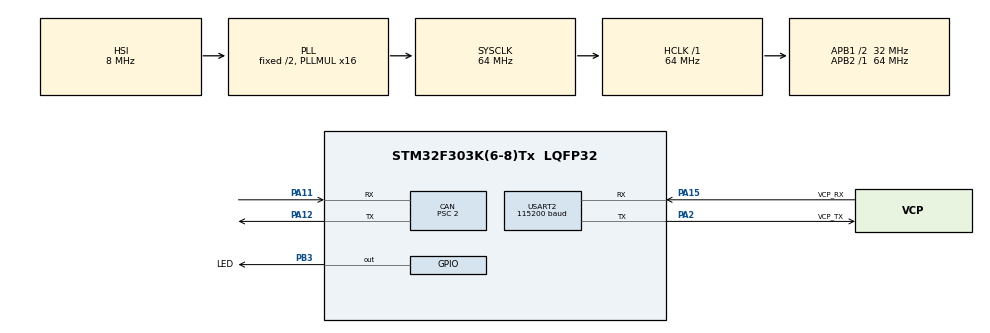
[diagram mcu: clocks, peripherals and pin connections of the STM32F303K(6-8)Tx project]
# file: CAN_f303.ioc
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CAN.BS1=CAN_BS1_13TQ
CAN.BS2=CAN_BS2_2TQ
CAN.CalculateBaudRate=1000000
CAN.CalculateTimeBit=1000
CAN.CalculateTimeQuantum=62.5
CAN.Mode=CAN_MODE_SILENT_LOOPBACK
CAN.Prescaler=2
Mcu.Family=STM32F3
Mcu.Name=STM32F303K(6-8)Tx
Mcu.Package=LQFP32
NVIC.CAN_RX0_IRQn=true\:0\:0\:true\:false\:true\:true\:true\:true
NVIC.PriorityGroup=NVIC_PRIORITYGROUP_4
PA11.Mode=CAN_Activate
PA11.Signal=CAN_RX
PA12.Mode=CAN_Activate
PA12.Signal=CAN_TX
PA13.GPIO_Label=SWDIO
PA13.Mode=Serial_Wire
PA13.Signal=SYS_JTMS-SWDIO
PA14.GPIO_Label=SWCLK
PA14.Mode=Serial_Wire
PA14.Signal=SYS_JTCK-SWCLK
PA15.GPIO_Label=VCP_RX
PA15.Mode=Asynchronous
PA15.Signal=USART2_RX
PA2.GPIO_Label=VCP_TX
PA2.Mode=Asynchronous
PA2.Signal=USART2_TX
PB3.GPIO_Label=LED
PB3.Signal=GPIO_Output
PF0\ /\ OSC_IN.GPIO_Label=MCO
PF0\ /\ OSC_IN.Signal=RCC_OSC_IN
ProjectManager.HeapSize=0x200
ProjectManager.StackSize=0x400
ProjectManager.TargetToolchain=STM32CubeIDE
RCC.AHBFreq_Value=64000000
RCC.APB1CLKDivider=RCC_HCLK_DIV2
RCC.APB1Freq_Value=32000000
RCC.APB1TimFreq_Value=64000000
RCC.APB2Freq_Value=64000000
RCC.APB2TimFreq_Value=64000000
RCC.CortexFreq_Value=64000000
RCC.HCLKFreq_Value=64000000
RCC.HSE_VALUE=8000000
RCC.HSI_VALUE=8000000
RCC.PLLMUL=RCC_PLL_MUL16
RCC.SYSCLKFreq_VALUE=64000000
RCC.SYSCLKSourceVirtual=RCC_SYSCLKSOURCE_PLLCLK
USART2.BaudRate=115200
USART2.VirtualMode-Asynchronous=VM_ASYNC
board=NUCLEO-F303K8

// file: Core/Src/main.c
/* USER CODE BEGIN Header */
/**
  ******************************************************************************
  * @file           : main.c
  * @brief          : Main program body
  ******************************************************************************
  * @attention
  *
  * Copyright (c) 2024 STMicroelectronics.
  * All rights reserved.
  *
  * This software is licensed under terms that can be found in the LICENSE file
  * in the root directory of this software component.
  * If no LICENSE file comes with this software, it is provided AS-IS.
  *
  ******************************************************************************
  */
/* USER CODE END Header */
#include "main.h"

/* USER CODE BEGIN Includes */
#include <stdio.h>
#include "Connectivity/can.h"
/* USER CODE END Includes */

CAN_HandleTypeDef hcan;

UART_HandleTypeDef huart2;

void SystemClock_Config(void);
static void MX_GPIO_Init(void);
static void MX_USART2_UART_Init(void);
static void MX_CAN_Init(void);

/* USER CODE BEGIN 0 */

#ifdef __GNUC__
#define PUTCHAR_PROTOTYPE int __io_putchar(int ch)
#else
#define PUTCHAR_PROTOTYPE int fputc(int ch, FILE *f)
#endif /* __GNUC__ */
void __io_putchar(uint8_t ch) {
  HAL_UART_Transmit(&huart2, &ch, 1, 1);
}

// 構造体、受信データを入れる配列
// CAN_TxHeaderTypeDef TxHeader;
// CAN_RxHeaderTypeDef RxHeader;
// uint8_t TxData[8];
// uint8_t RxData[8];
// uint32_t TxMailbox;

// 受信コールバック
void can_callback(uint32_t id, uint8_t* data, uint8_t dlc) {
  // can_transmitData(0x100, _can_rx_buf_id1.data8, 8);
  HAL_GPIO_TogglePin(LED_GPIO_Port, LED_Pin);
}

// 送信関数
// void CAN_SEND(uint32_t id, uint8_t dlc, uint8_t *senddata) {
//   TxHeader.ExtId = id;
//   TxHeader.RTR = CAN_RTR_DATA;
//   TxHeader.IDE = CAN_ID_EXT;
//   TxHeader.DLC = dlc;
//   TxHeader.TransmitGlobalTime = DISABLE;
//
//   if (HAL_CAN_AddTxMessage(&hcan, &TxHeader, TxData, &TxMailbox) != HAL_OK) {
//     Error_Handler();
//   }
//   while (HAL_CAN_GetTxMailboxesFreeLevel(&hcan) != 3) {}
//   HAL_GPIO_TogglePin(LED_GPIO_Port, LED_Pin);
// }

/* USER CODE END 0 */

int main(void)
{

  /* MCU Configuration--------------------------------------------------------*/

  /* Reset of all peripherals, Initializes the Flash interface and the Systick. */
  HAL_Init();

  /* Configure the system clock */
  SystemClock_Config();

  /* Initialize all configured peripherals */
  MX_GPIO_Init();
  MX_USART2_UART_Init();
  MX_CAN_Init();
  /* USER CODE BEGIN 2 */
  can_init(&hcan);
  // コールバック関数に動きを追加
  can_setReceiveCallback(can_callback);

  // 全IDを通るようにする
  // can_configFilter_free();

  // 1つずつフィルターとマスクを設定
  // can_configFilter_mask(0, 0, 0xFF);
  // can_configFilter_mask(1, 10, 0xFF);

  // 上のをまとめて、2つを一気に設定できるようにした
  can_configFilter(0, 10);

  can_start();

  int a = 0;

  /* USER CODE END 2 */

  /* Infinite loop */
  while (1)
  {

    /* USER CODE BEGIN 3 */
    uint8_t data[8];
    for (int i = 0; i < 8; i++) {
      data[i] = a + i;
      if (data[i] > 0xFF) data[i] -= 0xFF;
    }
    int en;
    can_transmitData(10, data, 8);
    // en = 0;
    // if (!en) HAL_GPIO_TogglePin(LED_GPIO_Port, LED_Pin);
    HAL_Delay(1000);
    a++;
    if (a > 0xFF) a = 0;
  }
  /* USER CODE END 3 */
}

void SystemClock_Config(void)
{
  RCC_OscInitTypeDef RCC_OscInitStruct = {0};
  RCC_ClkInitTypeDef RCC_ClkInitStruct = {0};

  /** Initializes the RCC Oscillators according to the specified parameters
  * in the RCC_OscInitTypeDef structure.
  */
  RCC_OscInitStruct.OscillatorType = RCC_OSCILLATORTYPE_HSI;
  RCC_OscInitStruct.HSIState = RCC_HSI_ON;
  RCC_OscInitStruct.HSICalibrationValue = RCC_HSICALIBRATION_DEFAULT;
  RCC_OscInitStruct.PLL.PLLState = RCC_PLL_ON;
  RCC_OscInitStruct.PLL.PLLSource = RCC_PLLSOURCE_HSI;
  RCC_OscInitStruct.PLL.PLLMUL = RCC_PLL_MUL16;
  if (HAL_RCC_OscConfig(&RCC_OscInitStruct) != HAL_OK)
  {
    Error_Handler();
  }

  /** Initializes the CPU, AHB and APB buses clocks
  */
  RCC_ClkInitStruct.ClockType = RCC_CLOCKTYPE_HCLK|RCC_CLOCKTYPE_SYSCLK
                              |RCC_CLOCKTYPE_PCLK1|RCC_CLOCKTYPE_PCLK2;
  RCC_ClkInitStruct.SYSCLKSource = RCC_SYSCLKSOURCE_PLLCLK;
  RCC_ClkInitStruct.AHBCLKDivider = RCC_SYSCLK_DIV1;
  RCC_ClkInitStruct.APB1CLKDivider = RCC_HCLK_DIV2;
  RCC_ClkInitStruct.APB2CLKDivider = RCC_HCLK_DIV1;

  if (HAL_RCC_ClockConfig(&RCC_ClkInitStruct, FLASH_LATENCY_2) != HAL_OK)
  {
    Error_Handler();
  }
}

static void MX_CAN_Init(void)
{

  hcan.Instance = CAN;
  hcan.Init.Prescaler = 2;
  hcan.Init.Mode = CAN_MODE_SILENT_LOOPBACK;
  hcan.Init.SyncJumpWidth = CAN_SJW_1TQ;
  hcan.Init.TimeSeg1 = CAN_BS1_13TQ;
  hcan.Init.TimeSeg2 = CAN_BS2_2TQ;
  hcan.Init.TimeTriggeredMode = DISABLE;
  hcan.Init.AutoBusOff = DISABLE;
  hcan.Init.AutoWakeUp = DISABLE;
  hcan.Init.AutoRetransmission = DISABLE;
  hcan.Init.ReceiveFifoLocked = DISABLE;
  hcan.Init.TransmitFifoPriority = DISABLE;
  if (HAL_CAN_Init(&hcan) != HAL_OK)
  {
    Error_Handler();
  }

}

static void MX_USART2_UART_Init(void)
{

  huart2.Instance = USART2;
  huart2.Init.BaudRate = 115200;
  huart2.Init.WordLength = UART_WORDLENGTH_8B;
  huart2.Init.StopBits = UART_STOPBITS_1;
  huart2.Init.Parity = UART_PARITY_NONE;
  huart2.Init.Mode = UART_MODE_TX_RX;
  huart2.Init.HwFlowCtl = UART_HWCONTROL_NONE;
  huart2.Init.OverSampling = UART_OVERSAMPLING_16;
  huart2.Init.OneBitSampling = UART_ONE_BIT_SAMPLE_DISABLE;
  huart2.AdvancedInit.AdvFeatureInit = UART_ADVFEATURE_NO_INIT;
  if (HAL_UART_Init(&huart2) != HAL_OK)
  {
    Error_Handler();
  }

}

static void MX_GPIO_Init(void)
{
  GPIO_InitTypeDef GPIO_InitStruct = {0};

  /* GPIO Ports Clock Enable */
  __HAL_RCC_GPIOF_CLK_ENABLE();
  __HAL_RCC_GPIOA_CLK_ENABLE();
  __HAL_RCC_GPIOB_CLK_ENABLE();

  /*Configure GPIO pin Output Level */
  HAL_GPIO_WritePin(LED_GPIO_Port, LED_Pin, GPIO_PIN_RESET);

  /*Configure GPIO pin : LED_Pin */
  GPIO_InitStruct.Pin = LED_Pin;
  GPIO_InitStruct.Mode = GPIO_MODE_OUTPUT_PP;
  GPIO_InitStruct.Pull = GPIO_NOPULL;
  GPIO_InitStruct.Speed = GPIO_SPEED_FREQ_LOW;
  HAL_GPIO_Init(LED_GPIO_Port, &GPIO_InitStruct);

}

void Error_Handler(void)
{
  __disable_irq();
  while (1)
  {
  }
}
